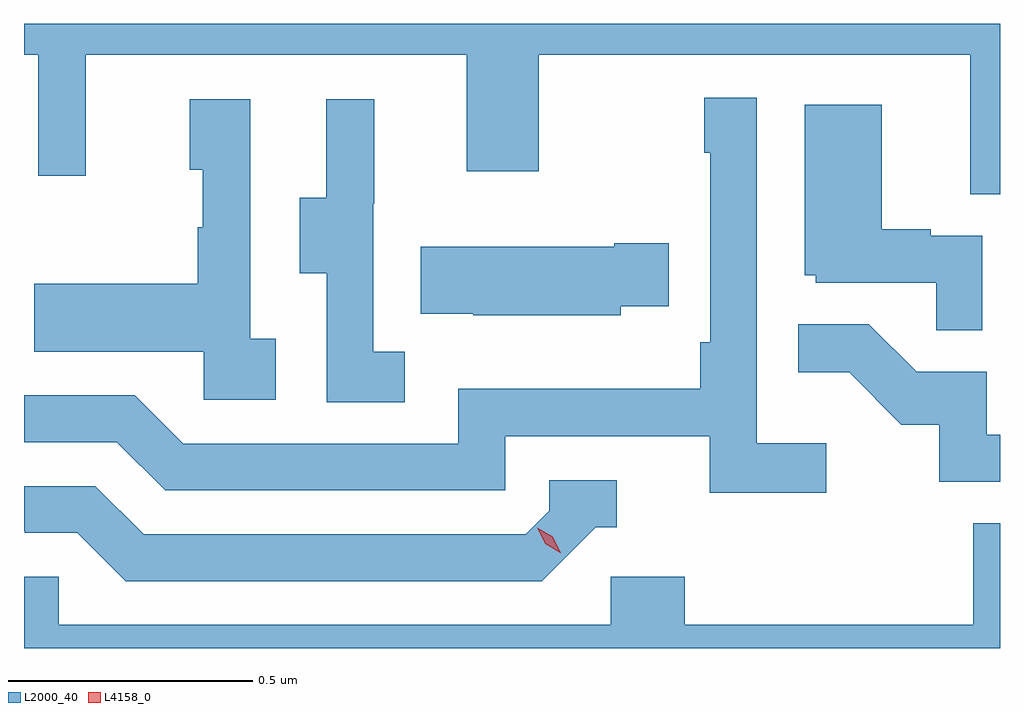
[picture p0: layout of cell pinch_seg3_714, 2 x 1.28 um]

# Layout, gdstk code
import gdstk
lib = gdstk.Library(unit=1e-6, precision=1e-09)
def P(c, l, *ps):  # polygons
    for p in ps: c.add(gdstk.Polygon(p, *l))
L2000_40 = (2000, 40)
L4158_0 = (4158, 0)

pinch_seg3_714 = lib.new_cell('pinch_seg3_714')
P(pinch_seg3_714, L2000_40, [(1118.568,667.679),(1116.568,667.679),(1116.568,667.616),(1116.597,667.616),(1116.597,667.368),(1116.695,667.368),(1116.695,667.616),(1117.475,667.616),(1117.475,667.377),(1117.623,667.377),(1117.623,667.616),(1118.507,667.616),(1118.507,667.33),(1118.568,667.33)],
  [(1118.212,666.82),(1118.07,666.82),(1118.07,667.528),(1117.962,667.528),(1117.962,667.415),(1117.974,667.415),(1117.974,667.027),(1117.954,667.027),(1117.954,666.931),(1117.458,666.931),(1117.458,666.819),(1116.894,666.819),(1116.795,666.918),(1116.568,666.918),(1116.568,666.822),(1116.758,666.822),(1116.857,666.723),(1117.554,666.723),(1117.554,666.834),(1117.973,666.834),(1117.973,666.718),(1118.212,666.718)],
  [(1117.348,667.007),(1117.284,667.007),(1117.284,667.311),(1117.286,667.311),(1117.286,667.525),(1117.187,667.525),(1117.187,667.323),(1117.133,667.323),(1117.133,667.168),(1117.188,667.168),(1117.188,666.904),(1117.348,666.904)],
  [(1117.084,667.034),(1117.032,667.034),(1117.032,667.525),(1116.908,667.525),(1116.908,667.38),(1116.934,667.38),(1116.934,667.262),(1116.924,667.262),(1116.924,667.147),(1116.589,667.147),(1116.589,667.007),(1116.936,667.007),(1116.936,666.909),(1117.084,666.909)],
  [(1118.532,667.245),(1118.426,667.245),(1118.426,667.258),(1118.326,667.258),(1118.326,667.513),(1118.168,667.513),(1118.168,667.164),(1118.19,667.164),(1118.19,667.149),(1118.437,667.149),(1118.437,667.051),(1118.532,667.051)],
  [(1117.791,667.1),(1117.889,667.1),(1117.889,667.23),(1117.778,667.23),(1117.778,667.222),(1117.381,667.222),(1117.381,667.085),(1117.489,667.085),(1117.489,667.082),(1117.791,667.082)],
  [(1118.568,666.837),(1118.541,666.837),(1118.541,666.966),(1118.397,666.966),(1118.299,667.064),(1118.155,667.064),(1118.155,666.965),(1118.259,666.965),(1118.366,666.858),(1118.443,666.858),(1118.443,666.741),(1118.568,666.741)],
  [(1117.74,666.648),(1117.783,666.648),(1117.783,666.744),(1117.644,666.744),(1117.644,666.681),(1117.596,666.633),(1116.813,666.633),(1116.714,666.732),(1116.568,666.732),(1116.568,666.639),(1116.57,666.639),(1116.57,666.636),(1116.677,666.636),(1116.776,666.537),(1117.629,666.537)],
  [(1118.568,666.656),(1118.513,666.656),(1118.513,666.448),(1117.922,666.448),(1117.922,666.546),(1117.77,666.546),(1117.77,666.448),(1116.639,666.448),(1116.639,666.546),(1116.568,666.546),(1116.568,666.4),(1118.568,666.4)])
P(pinch_seg3_714, L4158_0, [(1117.667,666.595),(1117.636,666.614),(1117.62,666.647),(1117.62,666.647),(1117.62,666.647),(1117.651,666.628),(1117.668,666.595),(1117.668,666.595)])

lib.write_gds('pinch_seg3_714.gds')
